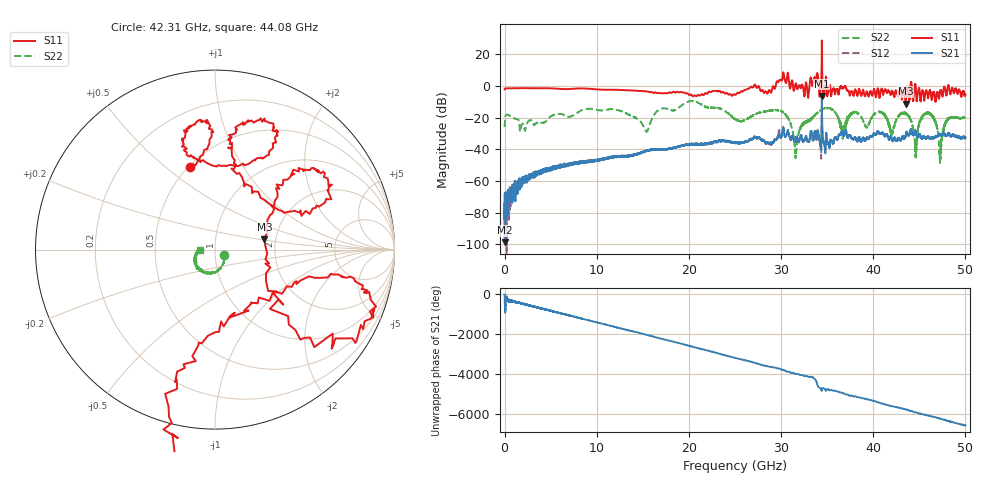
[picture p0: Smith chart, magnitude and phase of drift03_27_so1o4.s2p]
!Created with skrf (http://scikit-rf.org).
# Hz S RI R 50.0
!freq ReS11 ImS11 ReS21 ImS21 ReS12 ImS12 ReS22 ImS22
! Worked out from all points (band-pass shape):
!   10000 points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, 5.3 MHz to 50 GHz, reference 50 ohm
!   highest |S21| = -6.27 dB at 34.43 GHz (marker M1); lowest = -98.8 dB at 50.3 MHz (marker M2)
!   |S21| within 3 dB of the highest: 34.42759 GHz to 34.43468 GHz (7.096 MHz wide, 0.0206 % of centre)
!   lowest |S11| = -11.0 dB at 43.52 GHz (marker M3), VSWR 1.78, Z = 87.1 + j10.8 ohm
!   |S11| at or under -10 dB: 43.49245 GHz to 43.54389 GHz (51.44 MHz wide, 0.118 % of centre); 43.54859 GHz to 43.5508 GHz (2.208 MHz wide, 0.00507 % of centre)
!   |S22| runs from -48.6 to -9.4 dB; largest |S21 - S12| = 0.15
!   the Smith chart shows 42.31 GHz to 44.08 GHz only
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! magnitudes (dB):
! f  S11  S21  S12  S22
! 5.3 MHz  -2.1  -68.4  -73.2  -25.9
! 50.3 MHz  -1.6  -98.8  -81.6  -20.6
! 2.715 GHz  -1.4  -57.1  -57.0  -21.7
! 8.34 GHz  -1.5  -48.3  -47.7  -15.4
! 15.39 GHz  -3.4  -40.9  -41.0  -28.7
! 16.67 GHz  -4.4  -40.1  -40.1  -15.3
! 20.45 GHz  -6.5  -36.5  -36.4  -9.5
! 25.01 GHz  -5.5  -35.8  -36.0  -20.8
! 29.96 GHz  3.9  -32.6  -32.2  -15.8
! 31.6 GHz  1.5  -33.7  -34.1  -44.6
! 33.34 GHz  2.6  -30.2  -30.5  -20.4
! 34.43 GHz  28.8  -6.3  -8.2  -14.6
! 36.69 GHz  -1.3  -29.7  -29.8  -27.6
! 37.95 GHz  -3.9  -32.8  -32.7  -16.6
! 41.67 GHz  -3.1  -33.4  -33.3  -24.2
! 43.52 GHz  -11.0  -31.5  -31.6  -17.8
! 44.61 GHz  -1.4  -28.9  -28.9  -43.9
! 45.27 GHz  -4.0  -33.0  -33.2  -20.0
! 46.28 GHz  -5.6  -32.8  -32.9  -17.8
! 47.29 GHz  -3.0  -30.9  -30.5  -46.4
! 48.12 GHz  0.3  -30.2  -30.0  -21.0
! 50 GHz  -5.3  -32.3  -32.8  -19.6
